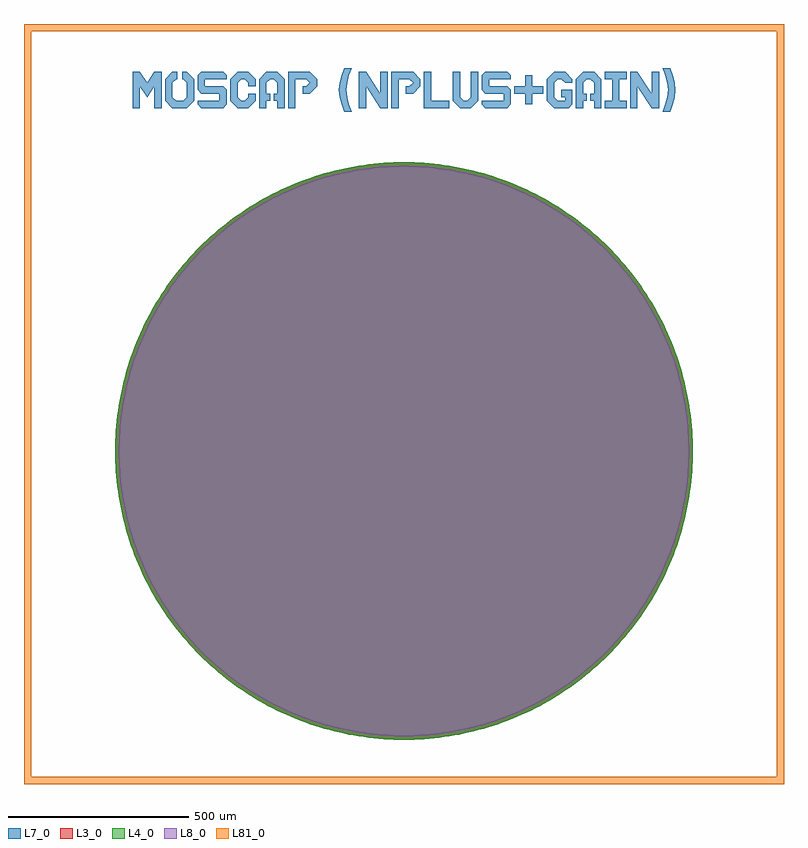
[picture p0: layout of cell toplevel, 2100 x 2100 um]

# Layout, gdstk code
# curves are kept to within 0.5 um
import gdstk
lib = gdstk.Library(unit=1e-6, precision=1e-09)
def P(c, l, *ps):  # polygons
    for p in ps: c.add(gdstk.Polygon(p, *l))
L3_0 = (3, 0)
L4_0 = (4, 0)
L7_0 = (7, 0)
L8_0 = (8, 0)
L81_0 = (81, 0)

ellipse = lib.new_cell('ellipse')
P(ellipse, L3_0, [(797.885,0),(796.791,41.758),(793.514,83.402),(790.12,111.044),(783.225,152.244),(774.184,193.026),(763.021,233.279),(754.415,259.766),(739.786,298.893),(723.129,337.201),(704.49,374.584),(683.921,410.941),(669.162,434.559),(645.502,468.985),(620.073,502.125),(592.944,533.889),(564.19,564.19),(533.889,592.944),(502.125,620.073),(468.985,645.502),(434.559,669.162),(410.941,683.921),(374.584,704.49),(337.201,723.129),(298.893,739.786),(259.766,754.415),(233.279,763.021),(193.026,774.184),(152.244,783.225),(111.044,790.12),(83.402,793.514),(41.758,796.791),(0,797.885),(-41.758,796.791),(-83.402,793.514),(-111.044,790.12),(-152.244,783.225),(-193.026,774.184),(-233.279,763.021),(-259.766,754.415),(-298.893,739.786),(-337.201,723.129),(-374.584,704.49),(-410.941,683.921),(-434.559,669.162),(-468.985,645.502),(-502.125,620.073),(-533.889,592.944),(-564.19,564.19),(-592.944,533.889),(-620.073,502.125),(-645.502,468.985),(-669.162,434.559),(-683.921,410.941),(-704.49,374.584),(-723.129,337.201),(-739.786,298.893),(-754.415,259.766),(-763.021,233.279),(-774.184,193.026),(-783.225,152.244),(-790.12,111.044),(-793.514,83.402),(-796.791,41.758),(-797.885,0),(-796.791,-41.758),(-793.514,-83.402),(-790.12,-111.044),(-783.225,-152.244),(-774.184,-193.026),(-763.021,-233.279),(-754.415,-259.766),(-739.786,-298.893),(-723.129,-337.201),(-704.49,-374.584),(-683.921,-410.941),(-669.162,-434.559),(-645.502,-468.985),(-620.073,-502.125),(-592.944,-533.889),(-564.19,-564.19),(-533.889,-592.944),(-502.125,-620.073),(-468.985,-645.502),(-434.559,-669.162),(-410.941,-683.921),(-374.584,-704.49),(-337.201,-723.129),(-298.893,-739.786),(-259.766,-754.415),(-233.279,-763.021),(-193.026,-774.184),(-152.244,-783.225),(-111.044,-790.12),(-83.402,-793.514),(-41.758,-796.791),(0,-797.885),(41.758,-796.791),(83.402,-793.514),(111.044,-790.12),(152.244,-783.225),(193.026,-774.184),(233.279,-763.021),(259.766,-754.415),(298.893,-739.786),(337.201,-723.129),(374.584,-704.49),(410.941,-683.921),(434.559,-669.162),(468.985,-645.502),(502.125,-620.073),(533.889,-592.944),(564.19,-564.19),(592.944,-533.889),(620.073,-502.125),(645.502,-468.985),(669.162,-434.559),(683.921,-410.941),(704.49,-374.584),(723.129,-337.201),(739.786,-298.893),(754.415,-259.766),(763.021,-233.279),(774.184,-193.026),(783.225,-152.244),(790.12,-111.044),(793.514,-83.402),(796.791,-41.758)])

ellipse002 = lib.new_cell('ellipse002')
P(ellipse002, L4_0, [(797.885,0),(796.791,41.758),(793.514,83.402),(790.12,111.044),(783.225,152.244),(774.184,193.026),(763.021,233.279),(754.415,259.766),(739.786,298.893),(723.129,337.201),(704.49,374.584),(683.921,410.941),(669.162,434.559),(645.502,468.985),(620.073,502.125),(592.944,533.889),(564.19,564.19),(533.889,592.944),(502.125,620.073),(468.985,645.502),(434.559,669.162),(410.941,683.921),(374.584,704.49),(337.201,723.129),(298.893,739.786),(259.766,754.415),(233.279,763.021),(193.026,774.184),(152.244,783.225),(111.044,790.12),(83.402,793.514),(41.758,796.791),(0,797.885),(-41.758,796.791),(-83.402,793.514),(-111.044,790.12),(-152.244,783.225),(-193.026,774.184),(-233.279,763.021),(-259.766,754.415),(-298.893,739.786),(-337.201,723.129),(-374.584,704.49),(-410.941,683.921),(-434.559,669.162),(-468.985,645.502),(-502.125,620.073),(-533.889,592.944),(-564.19,564.19),(-592.944,533.889),(-620.073,502.125),(-645.502,468.985),(-669.162,434.559),(-683.921,410.941),(-704.49,374.584),(-723.129,337.201),(-739.786,298.893),(-754.415,259.766),(-763.021,233.279),(-774.184,193.026),(-783.225,152.244),(-790.12,111.044),(-793.514,83.402),(-796.791,41.758),(-797.885,0),(-796.791,-41.758),(-793.514,-83.402),(-790.12,-111.044),(-783.225,-152.244),(-774.184,-193.026),(-763.021,-233.279),(-754.415,-259.766),(-739.786,-298.893),(-723.129,-337.201),(-704.49,-374.584),(-683.921,-410.941),(-669.162,-434.559),(-645.502,-468.985),(-620.073,-502.125),(-592.944,-533.889),(-564.19,-564.19),(-533.889,-592.944),(-502.125,-620.073),(-468.985,-645.502),(-434.559,-669.162),(-410.941,-683.921),(-374.584,-704.49),(-337.201,-723.129),(-298.893,-739.786),(-259.766,-754.415),(-233.279,-763.021),(-193.026,-774.184),(-152.244,-783.225),(-111.044,-790.12),(-83.402,-793.514),(-41.758,-796.791),(0,-797.885),(41.758,-796.791),(83.402,-793.514),(111.044,-790.12),(152.244,-783.225),(193.026,-774.184),(233.279,-763.021),(259.766,-754.415),(298.893,-739.786),(337.201,-723.129),(374.584,-704.49),(410.941,-683.921),(434.559,-669.162),(468.985,-645.502),(502.125,-620.073),(533.889,-592.944),(564.19,-564.19),(592.944,-533.889),(620.073,-502.125),(645.502,-468.985),(669.162,-434.559),(683.921,-410.941),(704.49,-374.584),(723.129,-337.201),(739.786,-298.893),(754.415,-259.766),(763.021,-233.279),(774.184,-193.026),(783.225,-152.244),(790.12,-111.044),(793.514,-83.402),(796.791,-41.758)])

ellipse003 = lib.new_cell('ellipse003')
P(ellipse003, L7_0, [(797.885,0),(796.791,41.758),(793.514,83.402),(790.12,111.044),(783.225,152.244),(774.184,193.026),(763.021,233.279),(754.415,259.766),(739.786,298.893),(723.129,337.201),(704.49,374.584),(683.921,410.941),(669.162,434.559),(645.502,468.985),(620.073,502.125),(592.944,533.889),(564.19,564.19),(533.889,592.944),(502.125,620.073),(468.985,645.502),(434.559,669.162),(410.941,683.921),(374.584,704.49),(337.201,723.129),(298.893,739.786),(259.766,754.415),(233.279,763.021),(193.026,774.184),(152.244,783.225),(111.044,790.12),(83.402,793.514),(41.758,796.791),(0,797.885),(-41.758,796.791),(-83.402,793.514),(-111.044,790.12),(-152.244,783.225),(-193.026,774.184),(-233.279,763.021),(-259.766,754.415),(-298.893,739.786),(-337.201,723.129),(-374.584,704.49),(-410.941,683.921),(-434.559,669.162),(-468.985,645.502),(-502.125,620.073),(-533.889,592.944),(-564.19,564.19),(-592.944,533.889),(-620.073,502.125),(-645.502,468.985),(-669.162,434.559),(-683.921,410.941),(-704.49,374.584),(-723.129,337.201),(-739.786,298.893),(-754.415,259.766),(-763.021,233.279),(-774.184,193.026),(-783.225,152.244),(-790.12,111.044),(-793.514,83.402),(-796.791,41.758),(-797.885,0),(-796.791,-41.758),(-793.514,-83.402),(-790.12,-111.044),(-783.225,-152.244),(-774.184,-193.026),(-763.021,-233.279),(-754.415,-259.766),(-739.786,-298.893),(-723.129,-337.201),(-704.49,-374.584),(-683.921,-410.941),(-669.162,-434.559),(-645.502,-468.985),(-620.073,-502.125),(-592.944,-533.889),(-564.19,-564.19),(-533.889,-592.944),(-502.125,-620.073),(-468.985,-645.502),(-434.559,-669.162),(-410.941,-683.921),(-374.584,-704.49),(-337.201,-723.129),(-298.893,-739.786),(-259.766,-754.415),(-233.279,-763.021),(-193.026,-774.184),(-152.244,-783.225),(-111.044,-790.12),(-83.402,-793.514),(-41.758,-796.791),(0,-797.885),(41.758,-796.791),(83.402,-793.514),(111.044,-790.12),(152.244,-783.225),(193.026,-774.184),(233.279,-763.021),(259.766,-754.415),(298.893,-739.786),(337.201,-723.129),(374.584,-704.49),(410.941,-683.921),(434.559,-669.162),(468.985,-645.502),(502.125,-620.073),(533.889,-592.944),(564.19,-564.19),(592.944,-533.889),(620.073,-502.125),(645.502,-468.985),(669.162,-434.559),(683.921,-410.941),(704.49,-374.584),(723.129,-337.201),(739.786,-298.893),(754.415,-259.766),(763.021,-233.279),(774.184,-193.026),(783.225,-152.244),(790.12,-111.044),(793.514,-83.402),(796.791,-41.758)])

ellipse004 = lib.new_cell('ellipse004')
P(ellipse004, L8_0, [(787.885,0),(787.405,27.497),(784.886,68.669),(780.217,109.652),(773.409,150.335),(764.481,190.607),(753.458,230.355),(740.369,269.472),(725.252,307.851),(708.146,345.386),(695.661,369.889),(675.349,405.791),(653.186,440.579),(629.233,474.161),(603.555,506.442),(585.512,527.198),(557.119,557.119),(527.198,585.512),(506.442,603.555),(474.161,629.233),(440.579,653.186),(405.791,675.349),(369.889,695.661),(345.386,708.146),(307.851,725.252),(269.472,740.369),(230.355,753.458),(190.607,764.481),(150.335,773.409),(109.652,780.217),(68.669,784.886),(27.497,787.405),(0,787.885),(-27.497,787.405),(-68.669,784.886),(-109.652,780.217),(-150.335,773.409),(-190.607,764.481),(-230.355,753.458),(-269.472,740.369),(-307.851,725.252),(-345.386,708.146),(-369.889,695.661),(-405.791,675.349),(-440.579,653.186),(-474.161,629.233),(-506.442,603.555),(-527.198,585.512),(-557.119,557.119),(-585.512,527.198),(-603.555,506.442),(-629.233,474.161),(-653.186,440.579),(-675.349,405.791),(-695.661,369.889),(-708.146,345.386),(-725.252,307.851),(-740.369,269.472),(-753.458,230.355),(-764.481,190.607),(-773.409,150.335),(-780.217,109.652),(-784.886,68.669),(-787.405,27.497),(-787.885,0),(-787.405,-27.497),(-784.886,-68.669),(-780.217,-109.652),(-773.409,-150.335),(-764.481,-190.607),(-753.458,-230.355),(-740.369,-269.472),(-725.252,-307.851),(-708.146,-345.386),(-695.661,-369.889),(-675.349,-405.791),(-653.186,-440.579),(-629.233,-474.161),(-603.555,-506.442),(-585.512,-527.198),(-557.119,-557.119),(-527.198,-585.512),(-506.442,-603.555),(-474.161,-629.233),(-440.579,-653.186),(-405.791,-675.349),(-369.889,-695.661),(-345.386,-708.146),(-307.851,-725.252),(-269.472,-740.369),(-230.355,-753.458),(-190.607,-764.481),(-150.335,-773.409),(-109.652,-780.217),(-68.669,-784.886),(-27.497,-787.405),(0,-787.885),(27.497,-787.405),(68.669,-784.886),(109.652,-780.217),(150.335,-773.409),(190.607,-764.481),(230.355,-753.458),(269.472,-740.369),(307.851,-725.252),(345.386,-708.146),(369.889,-695.661),(405.791,-675.349),(440.579,-653.186),(474.161,-629.233),(506.442,-603.555),(527.198,-585.512),(557.119,-557.119),(585.512,-527.198),(603.555,-506.442),(629.233,-474.161),(653.186,-440.579),(675.349,-405.791),(695.661,-369.889),(708.146,-345.386),(725.252,-307.851),(740.369,-269.472),(753.458,-230.355),(764.481,-190.607),(773.409,-150.335),(780.217,-109.652),(784.886,-68.669),(787.405,-27.497)])

c_pad = lib.new_cell('c-pad')
c_pad.add(gdstk.Reference(ellipse, (0,0)))
c_pad.add(gdstk.Reference(ellipse002, (0,0)))
c_pad.add(gdstk.Reference(ellipse003, (0,0)))
c_pad.add(gdstk.Reference(ellipse004, (0,0)))

text = lib.new_cell('text')
P(text, L7_0, [(10,100),(30,100),(50,70),(70,100),(90,100),(90,0),(70,0),(70,60),(50,30),(30,60),(30,0),(10,0)],
  [(100,80),(120,100),(133,100),(133,80),(130,80),(120,70),(120,30),(130,20),(150,20),(160,30),(160,70),(150,80),(147,80),(147,100),(160,100),(180,80),(180,20),(160,0),(120,0),(100,20)],
  [(270,80),(210,80),(210,60),(260,60),(270,50),(270,10),(260,0),(200,0),(190,10),(190,20),(250,20),(250,40),(200,40),(190,50),(190,90),(200,100),(260,100),(270,90)],
  [(300,0),(280,20),(280,80),(300,100),(330,100),(350,80),(350,60),(330,60),(330,70),(320,80),(310,80),(300,70),(300,30),(310,20),(320,20),(330,30),(330,40),(350,40),(350,20),(330,0)],
  [(360,80),(380,100),(410.1,100),(430,80),(430,0),(410.1,0),(410.1,20),(400,20),(400,40),(410.1,40),(410.1,70),(400,80),(390,80),(380,70),(380,40),(390,40),(390,20),(380,20),(380,0),(359.9,0)],
  [(440,100),(500,100),(520,80),(520,60),(500,40),(480,40),(480,60),(490,60),(500,70),(490,80),(460,80),(460,0),(440,0)],
  [(580,50),(582.5,70),(587.5,90),(595,110),(615,110),(607.5,90),(602.5,70),(600,50),(602.5,30),(607.5,10),(615,-10),(595,-10),(587.5,10),(582.5,30)],
  [(635,100),(655,100),(695,40),(695,100),(715,100),(715,0),(695,0),(655,60),(655,0),(635,0),(635,100)],
  [(725,100),(785,100),(805,80),(805,60),(785,40),(765,40),(765,60),(775,60),(785,70),(775,80),(745,80),(745,0),(725,0)],
  [(815,100),(835,100),(835,20),(885,20),(885,0),(815,0),(815,100)],
  [(915,100),(915,30),(925,20),(935,20),(945,30),(945,100),(965,100),(965,20),(945,0),(915,0),(895,20),(895,100)],
  [(1055,80),(995,80),(995,60),(1045,60),(1055,50),(1055,10),(1045,0),(985,0),(975,10),(975,20),(1035,20),(1035,40),(985,40),(975,50),(975,90),(985,100),(1045,100),(1055,90)],
  [(1095,60),(1095,90),(1115,90),(1115,60),(1145,60),(1145,40),(1115,40),(1115,10),(1095,10),(1095,40),(1065,40),(1065,60),(1095,60)],
  [(1175,0),(1155,20),(1155,80),(1175,100),(1205,100),(1225,80),(1225,70),(1205,70),(1195,80),(1185,80),(1175,70),(1175,30),(1185,20),(1205,20),(1205,30),(1195,30),(1195,50),(1225,50),(1225,10),(1215,0)],
  [(1235,80),(1255,100),(1285.1,100),(1305,80),(1305,0),(1285.1,0),(1285.1,20),(1275,20),(1275,40),(1285.1,40),(1285.1,70),(1275,80),(1265,80),(1255,70),(1255,40),(1265,40),(1265,20),(1255,20),(1255,0),(1234.9,0)],
  [(1315,0),(1315,20),(1335,20),(1335,80),(1315,80),(1315,100),(1375,100),(1375,80),(1355,80),(1355,20),(1375,20),(1375,0),(1315,0)],
  [(1385,100),(1405,100),(1445,40),(1445,100),(1465,100),(1465,0),(1445,0),(1405,60),(1405,0),(1385,0),(1385,100)],
  [(1475,110),(1495,110),(1502.5,90),(1507.5,70),(1510,50),(1507.5,30),(1502.5,10),(1495,-10),(1475,-10),(1482.5,10),(1487.5,30),(1490,50),(1487.5,70),(1482.5,90)])

boolean = lib.new_cell('boolean')
P(boolean, L81_0, [(2100,2100),(0,2100),(0,20),(20,20),(20,2080),(2080,2080),(2080,20),(20,20),(0,20),(0,0),(2100,0)])

toplevel = lib.new_cell('toplevel')
toplevel.add(gdstk.Reference(c_pad, (0,-130)))
toplevel.add(gdstk.Reference(text, (-760,817.885)))
toplevel.add(gdstk.Reference(boolean, (-1050,-1050)))

lib.write_gds('toplevel.gds')
